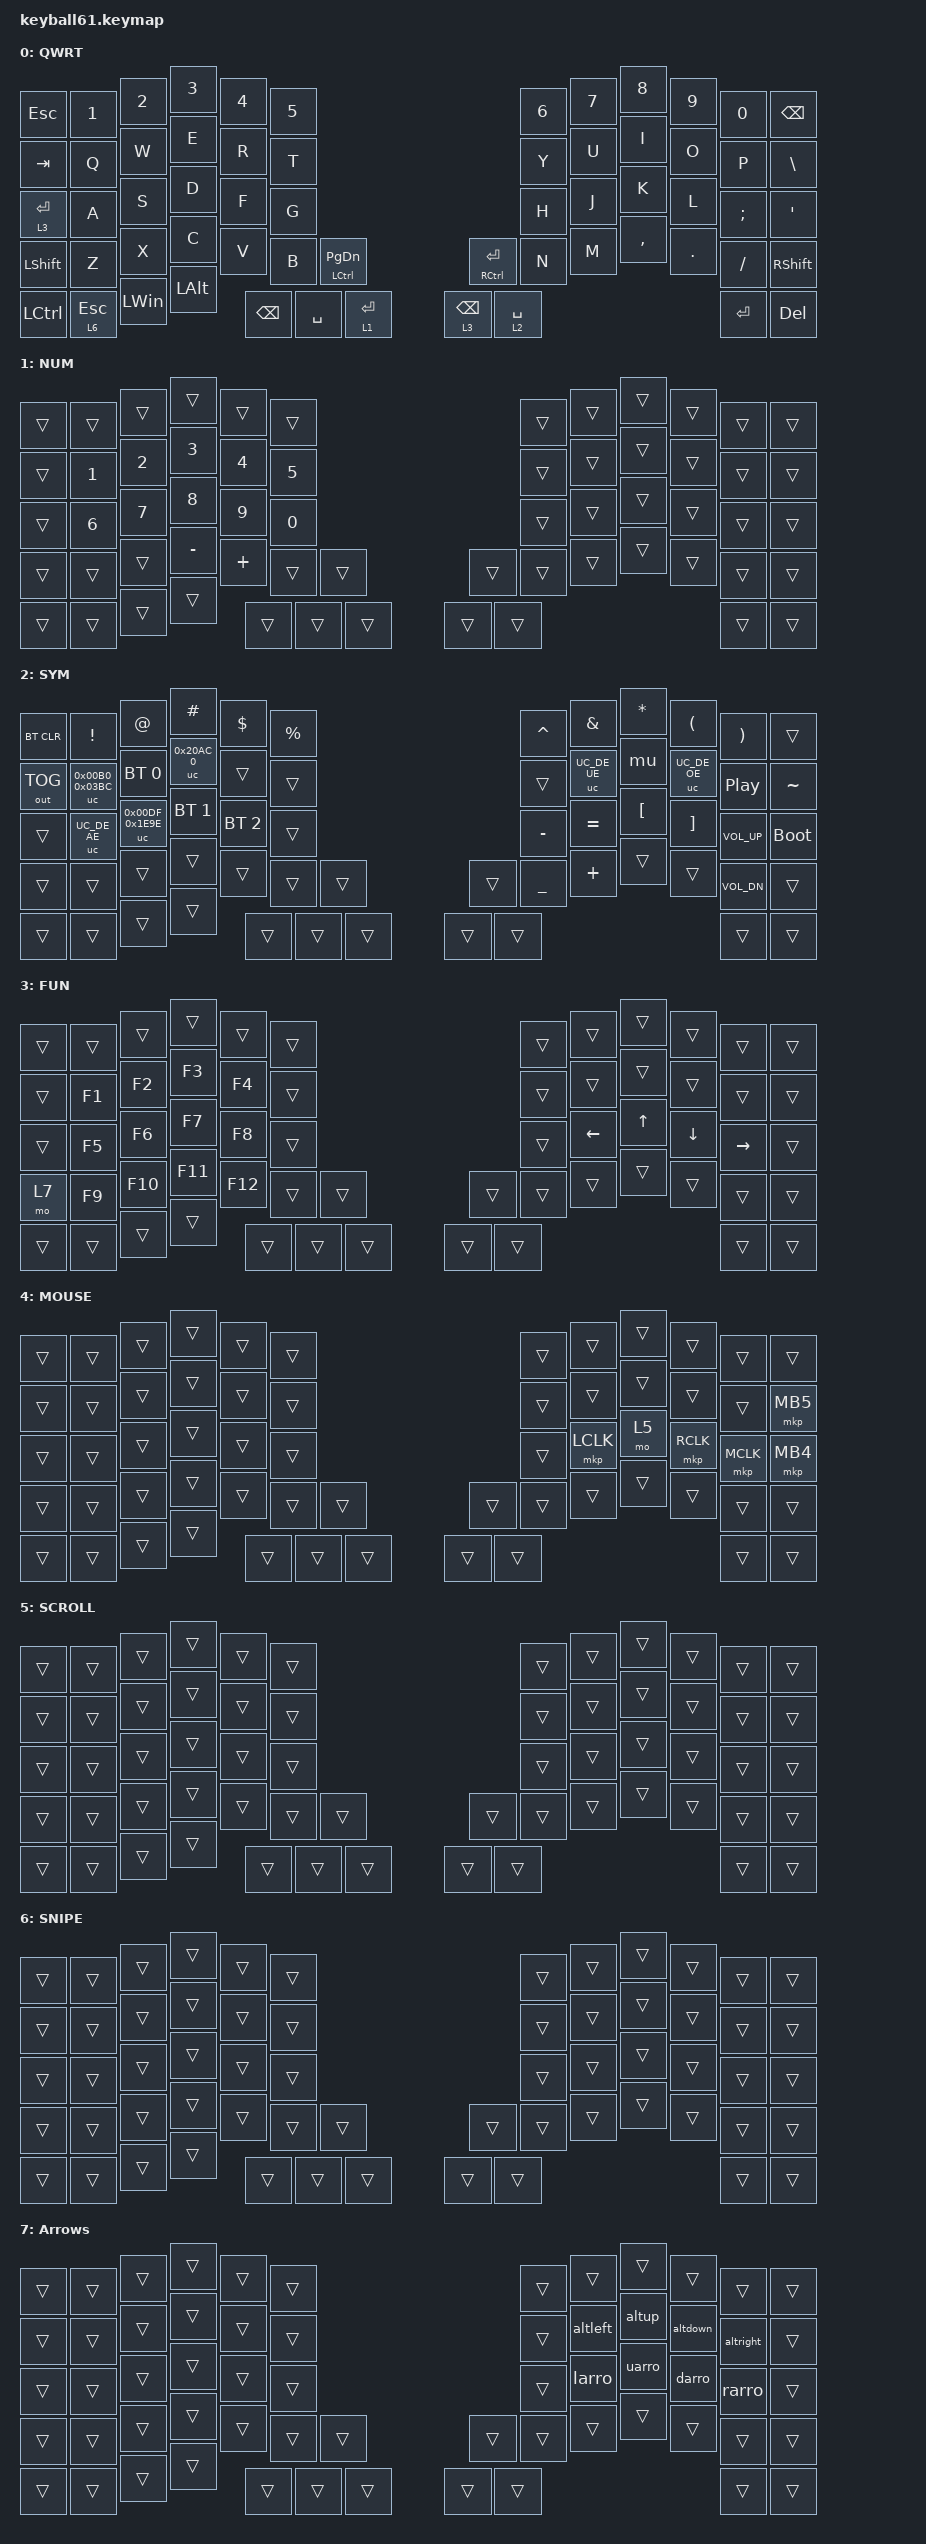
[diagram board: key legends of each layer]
#define DEFAULT 0
#define SYM     1
#define FUN     2
#define MOUSE   3
#define SCROLL  4
#define SNIPE   5

#include <behaviors/unicode.dtsi>
#include <zmk-unicode/keys-full.h>
#include <behaviors/mouse_keys.dtsi>
#include <dt-bindings/zmk/mouse.h>
#include <behaviors.dtsi>
#include <dt-bindings/zmk/bt.h>
#include <dt-bindings/zmk/keys.h>
#include <dt-bindings/zmk/outputs.h>
#include <dt-bindings/zmk/pointing.h>

&lt {
    tapping-term-ms = <240>;
    flavor = "balanced";
    quick-tap-ms = <150>;
};

&uc { default-mode = <UC_MODE_WIN_COMPOSE>; };

&mt {
    tapping-term-ms = <200>;
    flavor = "tap-preferred";
    quick-tap-ms = <150>;
};

/ {
    macros {
        larro: larro {
            compatible = "zmk,behavior-macro";
            #binding-cells = <0>;
            bindings = <&kp DLLR &kp BSLH &kp L &kp E &kp F &kp T &kp A &kp R &kp R &kp O &kp W &kp DLLR>;
            label = "LARRO";
        };

        rarro: rarro {
            compatible = "zmk,behavior-macro";
            #binding-cells = <0>;
            bindings = <&kp DLLR &kp BSLH &kp R &kp I &kp G &kp H &kp T &kp A &kp R &kp R &kp O &kp W &kp DLLR>;
            label = "RARRO";
        };

        uarro: uarro {
            compatible = "zmk,behavior-macro";
            #binding-cells = <0>;
            bindings = <&kp DLLR &kp BSLH &kp U &kp P &kp A &kp R &kp R &kp O &kp W &kp DLLR>;
            label = "UARRO";
        };

        darro: darro {
            compatible = "zmk,behavior-macro";
            #binding-cells = <0>;
            bindings = <&kp DLLR &kp BSLH &kp D &kp O &kp W &kp N &kp A &kp R &kp R &kp O &kp W &kp DLLR>;
            label = "DARRO";
        };

        harro: harro {
            compatible = "zmk,behavior-macro";
            #binding-cells = <0>;
            bindings = <&kp DLLR &kp BSLH &kp L &kp E &kp F &kp T &kp R &kp I &kp G &kp H &kp T &kp A &kp R &kp R &kp O &kp W &kp DLLR>;
            label = "HARRO";
        };

        mu: mu {
            compatible = "zmk,behavior-macro";
            #binding-cells = <0>;
            bindings =
                <&macro_press>,
                <&kp LEFT_ALT>,
                <&macro_tap>,
                <&kp KP_N2 &kp KP_N3 &kp KP_N0>,
                <&macro_release>,
                <&kp LEFT_ALT>;

            label = "MU";
        };

        altleft: altleft {
            compatible = "zmk,behavior-macro";
            #binding-cells = <0>;
            bindings =
                <&macro_press>,
                <&kp LEFT_ALT>,
                <&macro_tap>,
                <&kp KP_N2 &kp KP_N7>,
                <&macro_release>,
                <&kp LEFT_ALT>;

            label = "ALTLEFT";
        };

        altright: altright {
            compatible = "zmk,behavior-macro";
            #binding-cells = <0>;
            bindings =
                <&macro_press>,
                <&kp LEFT_ALT>,
                <&macro_tap>,
                <&kp KP_N2 &kp KP_N6>,
                <&macro_release>,
                <&kp LEFT_ALT>;

            label = "ALTRIGHT";
        };

        altup: altup {
            compatible = "zmk,behavior-macro";
            #binding-cells = <0>;
            bindings =
                <&macro_press>,
                <&kp LEFT_ALT>,
                <&macro_tap>,
                <&kp KP_N2 &kp KP_N4>,
                <&macro_release>,
                <&kp LEFT_ALT>;

            label = "ALTUP";
        };

        altdown: altdown {
            compatible = "zmk,behavior-macro";
            #binding-cells = <0>;
            bindings =
                <&macro_press>,
                <&kp LEFT_ALT>,
                <&macro_tap>,
                <&kp KP_N2 &kp KP_N5>,
                <&macro_release>,
                <&kp LEFT_ALT>;

            label = "ALTDOWN";
        };
    };

    keymap {
        compatible = "zmk,keymap";

        default_layer {
            label = "QWRT";
            bindings = <
&kp ESC         &kp N1        &kp N2        &kp N3        &kp N4         &kp N5                                       &kp N6       &kp N7  &kp N8     &kp N9   &kp N0     &kp BSPC
&kp TAB         &kp Q         &kp W         &kp E         &kp R          &kp T                                        &kp Y        &kp U   &kp I      &kp O    &kp P      &kp BACKSLASH
&lt 3 ENTER     &kp A         &kp S         &kp D         &kp F          &kp G                                        &kp H        &kp J   &kp K      &kp L    &kp SEMI   &kp SQT
&kp LEFT_SHIFT  &kp Z         &kp X         &kp C         &kp V          &kp B      &mt LCTRL PG_DN  &mt RCTRL ENTER  &kp N        &kp M   &kp COMMA  &kp DOT  &kp FSLH   &kp RIGHT_SHIFT
&kp LCTRL       &lt 6 ESCAPE  &kp LEFT_WIN  &kp LEFT_ALT  &kp BACKSPACE  &kp SPACE  &lt 1 ENTER      &lt 3 BACKSPACE  &lt 2 SPACE                              &kp ENTER  &kp DELETE
            >;
        };

        number_layer {
            bindings = <
&trans  &trans  &trans  &trans     &trans    &trans                  &trans  &trans  &trans  &trans  &trans  &trans
&trans  &kp N1  &kp N2  &kp N3     &kp N4    &kp N5                  &trans  &trans  &trans  &trans  &trans  &trans
&trans  &kp N6  &kp N7  &kp N8     &kp N9    &kp N0                  &trans  &trans  &trans  &trans  &trans  &trans
&trans  &trans  &trans  &kp MINUS  &kp PLUS  &trans  &trans  &trans  &trans  &trans  &trans  &trans  &trans  &trans
&trans  &trans  &trans  &trans     &trans    &trans  &trans  &trans  &trans                          &trans  &trans
            >;

            label = "NUM";
        };

        symbol_layer {
            label = "SYM";
            bindings = <
&bt BT_CLR    &kp EXCLAMATION    &kp AT_SIGN        &kp HASH      &kp DOLLAR    &kp PERCENT                  &kp CARET       &kp AMPERSAND  &kp ASTERISK      &kp LEFT_PARENTHESIS  &kp RIGHT_PARENTHESIS  &trans
&out OUT_TOG  &uc 0x00B0 0x03BC  &bt BT_SEL 0       &uc 0x20AC 0  &trans        &trans                       &trans          &uc UC_DE_UE   &mu               &uc UC_DE_OE          &kp C_PLAY_PAUSE       &kp TILDE
&trans        &uc UC_DE_AE       &uc 0x00DF 0x1E9E  &bt BT_SEL 1  &bt BT_SEL 2  &trans                       &kp MINUS       &kp EQUAL      &kp LEFT_BRACKET  &kp RIGHT_BRACKET     &kp C_VOLUME_UP        &bootloader
&trans        &trans             &trans             &trans        &trans        &trans       &trans  &trans  &kp UNDERSCORE  &kp PLUS       &trans            &trans                &kp C_VOL_DN           &trans
&trans        &trans             &trans             &trans        &trans        &trans       &trans  &trans  &trans                                                                 &trans                 &trans
            >;
        };

        function_layer {
            label = "FUN";
            bindings = <
&trans  &trans  &trans   &trans   &trans   &trans                  &trans  &trans          &trans        &trans          &trans           &trans
&trans  &kp F1  &kp F2   &kp F3   &kp F4   &trans                  &trans  &trans          &trans        &trans          &trans           &trans
&trans  &kp F5  &kp F6   &kp F7   &kp F8   &trans                  &trans  &kp LEFT_ARROW  &kp UP_ARROW  &kp DOWN_ARROW  &kp RIGHT_ARROW  &trans
&mo 7   &kp F9  &kp F10  &kp F11  &kp F12  &trans  &trans  &trans  &trans  &trans          &trans        &trans          &trans           &trans
&trans  &trans  &trans   &trans   &trans   &trans  &trans  &trans  &trans                                                &trans           &trans
            >;
        };

        mouse_layer {
            label = "MOUSE";
            bindings = <
&trans  &trans  &trans  &trans  &trans  &trans                  &trans  &trans     &trans  &trans     &trans     &trans
&trans  &trans  &trans  &trans  &trans  &trans                  &trans  &trans     &trans  &trans     &trans     &mkp MB5
&trans  &trans  &trans  &trans  &trans  &trans                  &trans  &mkp LCLK  &mo 5   &mkp RCLK  &mkp MCLK  &mkp MB4
&trans  &trans  &trans  &trans  &trans  &trans  &trans  &trans  &trans  &trans     &trans  &trans     &trans     &trans
&trans  &trans  &trans  &trans  &trans  &trans  &trans  &trans  &trans                                &trans     &trans
            >;
        };

        scroll_layer {
            label = "SCROLL";
            bindings = <
&trans  &trans  &trans  &trans  &trans  &trans                  &trans  &trans  &trans  &trans  &trans  &trans
&trans  &trans  &trans  &trans  &trans  &trans                  &trans  &trans  &trans  &trans  &trans  &trans
&trans  &trans  &trans  &trans  &trans  &trans                  &trans  &trans  &trans  &trans  &trans  &trans
&trans  &trans  &trans  &trans  &trans  &trans  &trans  &trans  &trans  &trans  &trans  &trans  &trans  &trans
&trans  &trans  &trans  &trans  &trans  &trans  &trans  &trans  &trans                          &trans  &trans
            >;
        };

        snipe_layer {
            label = "SNIPE";
            bindings = <
&trans  &trans  &trans  &trans  &trans  &trans                  &trans  &trans  &trans  &trans  &trans  &trans
&trans  &trans  &trans  &trans  &trans  &trans                  &trans  &trans  &trans  &trans  &trans  &trans
&trans  &trans  &trans  &trans  &trans  &trans                  &trans  &trans  &trans  &trans  &trans  &trans
&trans  &trans  &trans  &trans  &trans  &trans  &trans  &trans  &trans  &trans  &trans  &trans  &trans  &trans
&trans  &trans  &trans  &trans  &trans  &trans  &trans  &trans  &trans                          &trans  &trans
            >;
        };

        Arrows {
            bindings = <
&trans  &trans  &trans  &trans  &trans  &trans                  &trans  &trans    &trans  &trans    &trans     &trans
&trans  &trans  &trans  &trans  &trans  &trans                  &trans  &altleft  &altup  &altdown  &altright  &trans
&trans  &trans  &trans  &trans  &trans  &trans                  &trans  &larro    &uarro  &darro    &rarro     &trans
&trans  &trans  &trans  &trans  &trans  &trans  &trans  &trans  &trans  &trans    &trans  &trans    &trans     &trans
&trans  &trans  &trans  &trans  &trans  &trans  &trans  &trans  &trans                              &trans     &trans
            >;
        };
    };
};
